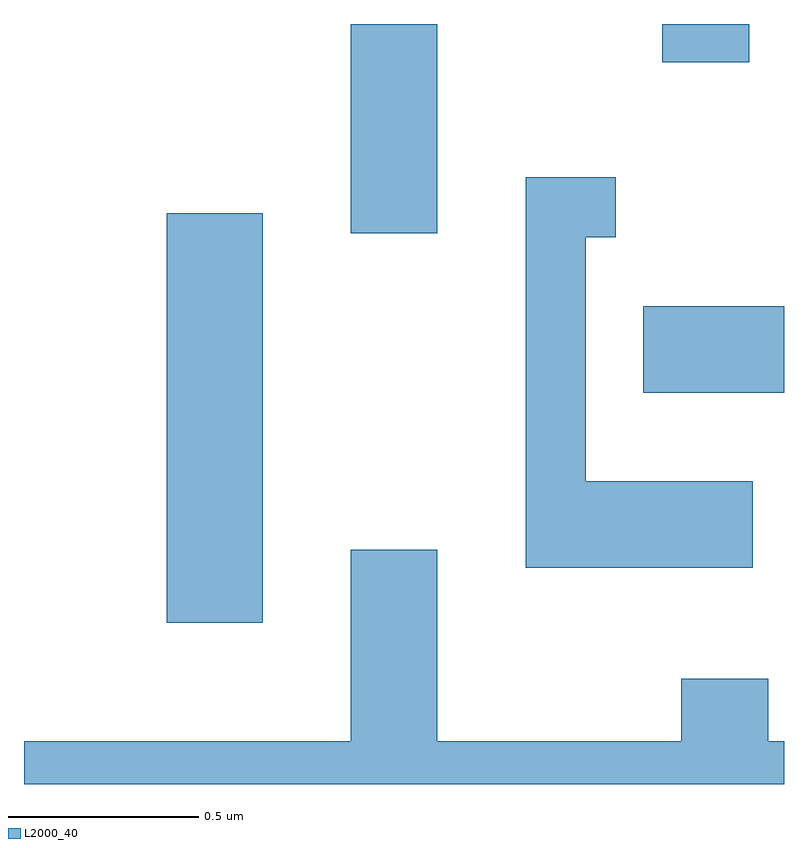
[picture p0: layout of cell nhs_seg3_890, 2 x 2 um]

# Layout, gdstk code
import gdstk
lib = gdstk.Library(unit=1e-6, precision=1e-09)
def R(c, l, rs):  # rectangles x0, y0, x1, y1
    for r in rs: c.add(gdstk.rectangle(r[:2], r[2:], *l))
def P(c, l, *ps):  # polygons
    for p in ps: c.add(gdstk.Polygon(p, *l))
L2000_40 = (2000, 40)

nhs_seg3_890 = lib.new_cell('nhs_seg3_890')
R(nhs_seg3_890, L2000_40, [(191.986,1184.316,192.239,1185.394), (193.241,1184.921,193.611,1185.149), (192.471,1185.341,192.699,1185.892), (193.291,1185.791,193.519,1185.892)])
P(nhs_seg3_890, L2000_40, [(193.529,1184.689),(193.089,1184.689),(193.089,1185.331),(193.168,1185.331),(193.168,1185.489),(192.931,1185.489),(192.931,1184.461),(193.529,1184.461)],
  [(193.611,1184.004),(193.569,1184.004),(193.569,1184.169),(193.341,1184.169),(193.341,1184.004),(192.699,1184.004),(192.699,1184.509),(192.471,1184.509),(192.471,1184.004),(191.611,1184.004),(191.611,1183.892),(193.611,1183.892)])

lib.write_gds('nhs_seg3_890.gds')
